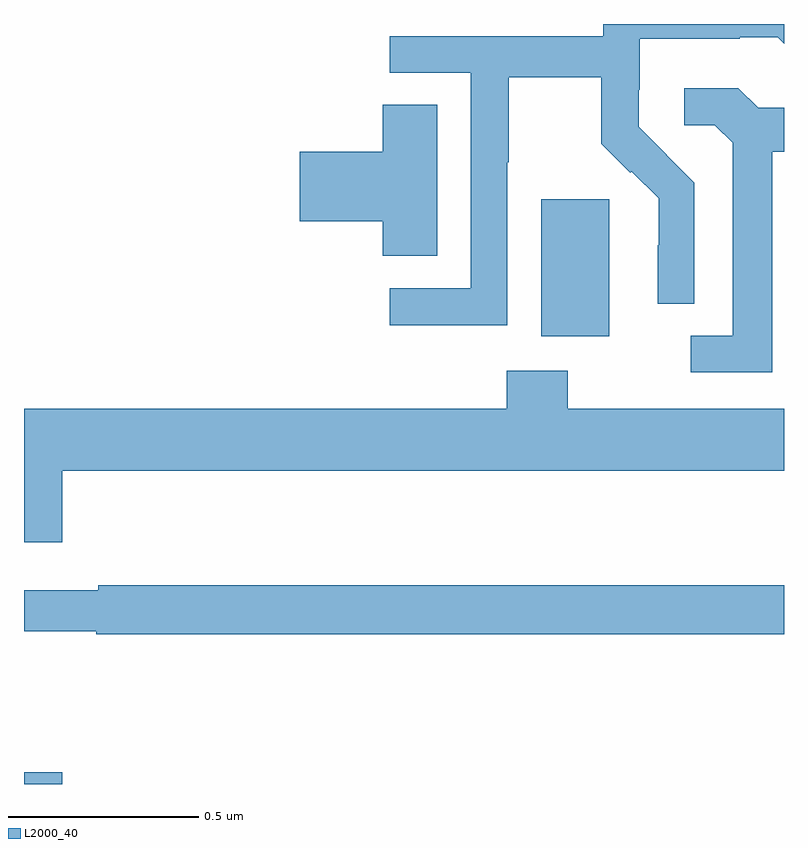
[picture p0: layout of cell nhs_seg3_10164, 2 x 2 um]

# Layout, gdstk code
import gdstk
lib = gdstk.Library(unit=1e-6, precision=1e-09)
def R(c, l, rs):  # rectangles x0, y0, x1, y1
    for r in rs: c.add(gdstk.rectangle(r[:2], r[2:], *l))
def P(c, l, *ps):  # polygons
    for p in ps: c.add(gdstk.Polygon(p, *l))
L2000_40 = (2000, 40)

nhs_seg3_10164 = lib.new_cell('nhs_seg3_10164')
R(nhs_seg3_10164, L2000_40, [(237,725.4,237.1,725.431), (238.361,726.578,238.54,726.939)])
P(nhs_seg3_10164, L2000_40, [(238.272,727.036),(238.275,727.036),(238.275,727.26),(238.519,727.26),(238.519,727.085),(238.596,727.008),(238.599,727.011),(238.67,726.941),(238.67,726.818),(238.668,726.818),(238.668,726.664),(238.764,726.664),(238.764,726.982),(238.691,727.055),(238.692,727.056),(238.618,727.13),(238.618,727.227),(238.62,727.227),(238.62,727.361),(238.883,727.361),(238.883,727.365),(238.983,727.365),(239,727.348),(239,727.4),(238.524,727.4),(238.524,727.368),(237.963,727.368),(237.963,727.272),(238.176,727.272),(238.176,726.705),(237.963,726.705),(237.963,726.607),(238.272,726.607)],
  [(238.969,727.064),(239,727.064),(239,727.179),(238.932,727.179),(238.88,727.231),(238.737,727.231),(238.737,727.134),(238.818,727.134),(238.865,727.087),(238.865,726.579),(238.755,726.579),(238.755,726.483),(238.969,726.483)],
  [(238.087,727.187),(237.944,727.187),(237.944,727.064),(237.726,727.064),(237.726,726.881),(237.944,726.881),(237.944,726.79),(238.087,726.79)],
  [(237.1,726.224),(239,726.224),(239,726.388),(238.431,726.388),(238.431,726.487),(238.271,726.487),(238.271,726.388),(237,726.388),(237,726.036),(237.1,726.036)],
  [(239,725.923),(237.196,725.923),(237.196,725.91),(237,725.91),(237,725.802),(237.19,725.802),(237.19,725.794),(239,725.794)])

lib.write_gds('nhs_seg3_10164.gds')
